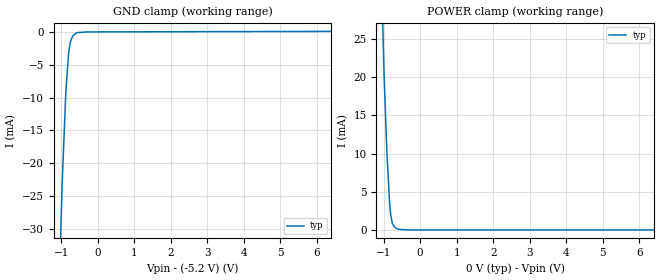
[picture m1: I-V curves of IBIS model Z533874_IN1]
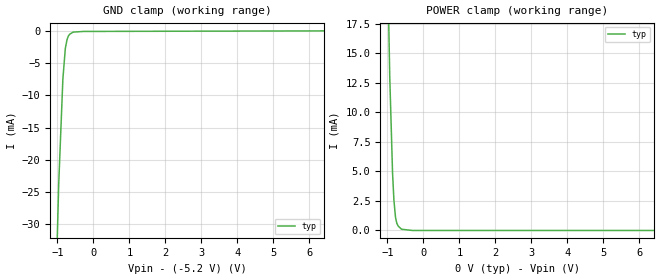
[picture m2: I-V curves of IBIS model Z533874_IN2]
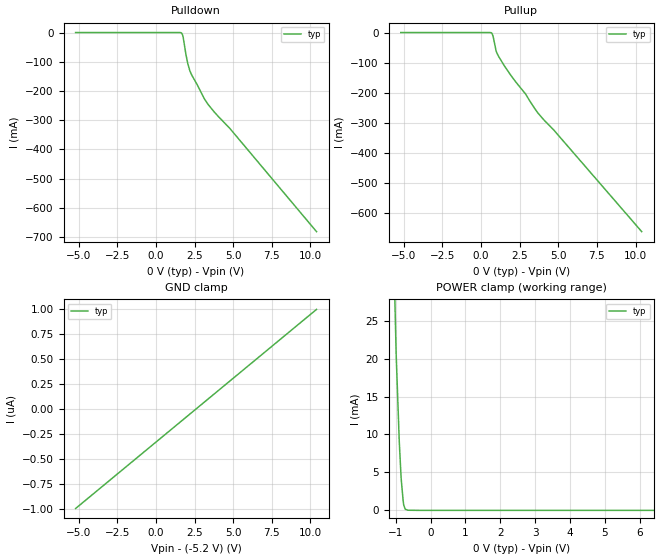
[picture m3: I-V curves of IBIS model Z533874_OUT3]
| YOU ARE ONLY AUTHORIZED TO USE THIS SOFTWARE
| ACCORDING TO LICENSOR'S LICENSE RESTRICTIONS.
[IBIS Ver] 3.1
[File Name] mc100el52d.ibs
[File Rev] 2.0
[Source] Measured and created by ICX Technology
[Date] Friday 7/14/00 9:07:48 AM
[Copyright]
| (C) COPYRIGHT 1993-2000
| MENTOR GRAPHICS CORPORATION
| ICX STANDARD LIBRARY, ICX PROJECT MODELING,
| ICX CUSTOM MODELING, ICX VENDOR MODEL
| ALL RIGHTS RESERVED.
| THE FOLLOWING ARE TRADEMARKS OR SERVICE MARKS OF
| MENTOR GRAPHICS CORPORATION:ICX (R), ICX STANDARD
| LIBRARY(R), ICX PROJECT MODELING(R), ICX CUSTOM
| MODELING(R), qualityIBIS(TM), MODELVIEWER(TM),
| AND MODELEDITOR(TM)
| ALL COPIES OF SOFTWARE, INCLUDING BUT NOT LIMITED TO
| ANY MODIFICATIONS, ENHANCEMENTS OR DERIVATIVE WORKS,
| MUST CONTAIN ALL MENTOR GRAPHICS CORPORATION'S
| NOTICES AND LEGENDS, INCLUDING THOSE EMBEDDED IN
| SOFTWARE AND THOSE AFFIXED TO SOFTWARE MEDIUM
| AND CONTAINER, AS RECEIVED FROM MENTOR GRAPHICS
| CORPORATION.
|  ZAP Model Builder 2.7
[Component] MC100EL52D
[Manufacturer] OnSemiconductor
[Package]
| variable   typ   min   max
R_pkg  .152ohms NA NA
L_pkg  2.714nH NA NA
C_pkg  .364pF NA NA
[Pin] signal_name  model_name  R_pin  L_pin C_pin
1 D Z533874_IN1 .154 2.924n .374p
2 _D Z533874_IN1 .15 2.504n .354p
3 CLK Z533874_IN2 .15 2.504n .354p
4 _CLK Z533874_IN2 .154 2.924n .374p
5 VEE POWER .154 2.924n .374p
6 _Q Z533874_OUT3 .15 2.504n .354p
7 Q Z533874_OUT3 .15 2.504n .354p
8 VCC POWER .154 2.924n .374p
| Models and submodels in the file (3): Z533874_IN1 (Input_ECL), Z533874_IN2 (Input_ECL), Z533874_OUT3 (Output_ECL)
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| (C) COPYRIGHT 1993-2000
| MENTOR GRAPHICS CORPORATION
| ICX STANDARD LIBRARY, ICX PROJECT MODELING,
| ICX CUSTOM MODELING, ICX VENDOR MODEL
| ALL RIGHTS RESERVED.
| THE FOLLOWING ARE TRADEMARKS OR SERVICE MARKS OF
| MENTOR GRAPHICS CORPORATION:ICX (R), ICX STANDARD
| LIBRARY(R), ICX PROJECT MODELING(R), ICX CUSTOM
| MODELING(R), qualityIBIS(TM), MODELVIEWER(TM),
| AND MODELEDITOR(TM)
| ALL COPIES OF SOFTWARE, INCLUDING BUT NOT LIMITED TO
| ANY MODIFICATIONS, ENHANCEMENTS OR DERIVATIVE WORKS,
| MUST CONTAIN ALL MENTOR GRAPHICS CORPORATION'S
| NOTICES AND LEGENDS, INCLUDING THOSE EMBEDDED IN
| SOFTWARE AND THOSE AFFIXED TO SOFTWARE MEDIUM
| AND CONTAINER, AS RECEIVED FROM MENTOR GRAPHICS
| CORPORATION.
| Model Application Version 1.89 2/18/99.
[Model] Z533874_IN1
Model_type Input_ECL
Vinl = -1.475V
Vinh = -1.165V
C_comp 4.000pF NA NA
| variable typ   min   max
[Voltage Range] -5.200V NA NA
[GND Clamp Reference] -5.200V NA NA
[POWER Clamp Reference] 0.000V NA NA
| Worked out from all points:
|   GND clamp passes 1 mA (typ) near -0.71 V on its own axis
|   POWER clamp passes 1 mA (typ) near -0.77 V on its own axis
[GND Clamp]
-5.2V     -828.9mA   NA         NA
-972mV    -23.19mA   NA         NA
-872mV    -9.305mA   NA         NA
-796mV    -3.28mA    NA         NA
-752mV    -1.674mA   NA         NA
-715mV    -1.012mA   NA         NA
-662mV    -504.3uA   NA         NA
-568mV    -130.2uA   NA         NA
-284mV    -21.47uA   NA         NA
10.4V     109.5uA    NA         NA
[POWER Clamp]
-5.2V     1.736A     NA         NA
-1.064V   34.04mA    NA         NA
-986.1mV  20.01mA    NA         NA
-908.2mV  9.892mA    NA         NA
-833.3mV  3.284mA    NA         NA
-806.1mV  2.016mA    NA         NA
-761.7mV  872.4uA    NA         NA
-721.1mV  515.3uA    NA         NA
-664.1mV  251.6uA    NA         NA
-589.6mV  83.04uA    NA         NA
-294.8mV  0A         NA         NA
10.4V     0A         NA         NA
| (C) COPYRIGHT 1993-2000
| MENTOR GRAPHICS CORPORATION
| ICX STANDARD LIBRARY, ICX PROJECT MODELING,
| ICX CUSTOM MODELING, ICX VENDOR MODEL
| ALL RIGHTS RESERVED.
| THE FOLLOWING ARE TRADEMARKS OR SERVICE MARKS OF
| MENTOR GRAPHICS CORPORATION:ICX (R), ICX STANDARD
| LIBRARY(R), ICX PROJECT MODELING(R), ICX CUSTOM
| MODELING(R), qualityIBIS(TM), MODELVIEWER(TM),
| AND MODELEDITOR(TM)
| ALL COPIES OF SOFTWARE, INCLUDING BUT NOT LIMITED TO
| ANY MODIFICATIONS, ENHANCEMENTS OR DERIVATIVE WORKS,
| MUST CONTAIN ALL MENTOR GRAPHICS CORPORATION'S
| NOTICES AND LEGENDS, INCLUDING THOSE EMBEDDED IN
| SOFTWARE AND THOSE AFFIXED TO SOFTWARE MEDIUM
| AND CONTAINER, AS RECEIVED FROM MENTOR GRAPHICS
| CORPORATION.
| Model Application Version 1.89 2/18/99.
[Model] Z533874_IN2
Model_type Input_ECL
Vinl = -1.475V
Vinh = -1.165V
C_comp 4.000pF NA NA
| variable typ   min   max
[Voltage Range] -5.200V NA NA
[GND Clamp Reference] -5.200V NA NA
[POWER Clamp Reference] 0.000V NA NA
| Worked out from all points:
|   GND clamp passes 1 mA (typ) near -0.72 V on its own axis
|   POWER clamp passes 1 mA (typ) near -0.77 V on its own axis
[GND Clamp]
-5.2V     -912.5mA   NA         NA
-966mV    -23.88mA   NA         NA
-850mV    -7.46mA    NA         NA
-782mV    -2.673mA   NA         NA
-733mV    -1.268mA   NA         NA
-699mV    -756.2uA   NA         NA
-663mV    -471.5uA   NA         NA
-567mV    -125.7uA   NA         NA
-283.5mV  -21.06uA   NA         NA
10.4V     118uA      NA         NA
[POWER Clamp]
-5.2V     1.578A     NA         NA
-1.142V   53.88mA    NA         NA
-1.074V   35.09mA    NA         NA
-936.7mV  13.01mA    NA         NA
-858.2mV  4.814mA    NA         NA
-820.6mV  2.556mA    NA         NA
-776.8mV  1.113mA    NA         NA
-742.4mV  626.4uA    NA         NA
-703.1mV  374.3uA    NA         NA
-609.5mV  104.7uA    NA         NA
-304.7mV  0A         NA         NA
10.4V     0A         NA         NA
| (C) COPYRIGHT 1993-2000
| MENTOR GRAPHICS CORPORATION
| ICX STANDARD LIBRARY, ICX PROJECT MODELING,
| ICX CUSTOM MODELING, ICX VENDOR MODEL
| ALL RIGHTS RESERVED.
| THE FOLLOWING ARE TRADEMARKS OR SERVICE MARKS OF
| MENTOR GRAPHICS CORPORATION:ICX (R), ICX STANDARD
| LIBRARY(R), ICX PROJECT MODELING(R), ICX CUSTOM
| MODELING(R), qualityIBIS(TM), MODELVIEWER(TM),
| AND MODELEDITOR(TM)
| ALL COPIES OF SOFTWARE, INCLUDING BUT NOT LIMITED TO
| ANY MODIFICATIONS, ENHANCEMENTS OR DERIVATIVE WORKS,
| MUST CONTAIN ALL MENTOR GRAPHICS CORPORATION'S
| NOTICES AND LEGENDS, INCLUDING THOSE EMBEDDED IN
| SOFTWARE AND THOSE AFFIXED TO SOFTWARE MEDIUM
| AND CONTAINER, AS RECEIVED FROM MENTOR GRAPHICS
| CORPORATION.
| Model Application Version 1.89 2/18/99.
[Model] Z533874_OUT3
Model_type Output_ECL
Vref=-2.000V
Rref=50.00ohms
Cref=0.000F
Vmeas=-1.320V
C_comp 8.000pF NA NA
| variable typ   min   max
[Voltage Range] -5.200V NA NA
[POWER Clamp Reference] 0.000V NA NA
[Pullup Reference] 0.000V NA NA
[Pulldown Reference] 0.000V NA NA
[GND Clamp Reference] -5.200V NA NA
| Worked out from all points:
|   POWER clamp passes 1 mA (typ) near -0.78 V on its own axis
[GND Clamp]
-5.2V     -1uA       NA         NA
10.4V     1uA        NA         NA
[Pulldown]
-5.2V     105.2uA    NA         NA
1.523V    97.34uA    NA         NA
1.68V     -2.602mA   NA         NA
1.767V    -16.41mA   NA         NA
1.957V    -78.51mA   NA         NA
2.065V    -106.1mA   NA         NA
2.198V    -130.6mA   NA         NA
3.15V     -227.9mA   NA         NA
3.369V    -245.3mA   NA         NA
4.044V    -287.5mA   NA         NA
4.78V     -327.8mA   NA         NA
10.4V     -681.8mA   NA         NA
[Pullup]
-5.2V     114.2uA    NA         NA
568.2mV   89.15uA    NA         NA
702.7mV   -2.257mA   NA         NA
775mV     -11.75mA   NA         NA
976.7mV   -62.03mA   NA         NA
1.172V    -82.73mA   NA         NA
1.891V    -139.9mA   NA         NA
2.88V     -204.8mA   NA         NA
3.685V    -268.5mA   NA         NA
4.701V    -324.6mA   NA         NA
10.4V     -663.8mA   NA         NA
[POWER Clamp]
-5.2V     1.717A     NA         NA
-1.216V   82.6mA     NA         NA
-1.084V   39.32mA    NA         NA
-986.3mV  20.56mA    NA         NA
-897.2mV  9.037mA    NA         NA
-844mV    4.248mA    NA         NA
-786.2mV  1.269mA    NA         NA
-768.6mV  690.2uA    NA         NA
-726.4mV  149.3uA    NA         NA
-648.6mV  17.7uA     NA         NA
-324.3mV  0A         NA         NA
10.4V     0A         NA         NA
[Ramp]
| variable typ min max
dV/dt_r 530.9m/476.0p NA NA
dV/dt_f 530.9m/466.3p NA NA
R_load = 50.00Ohms
